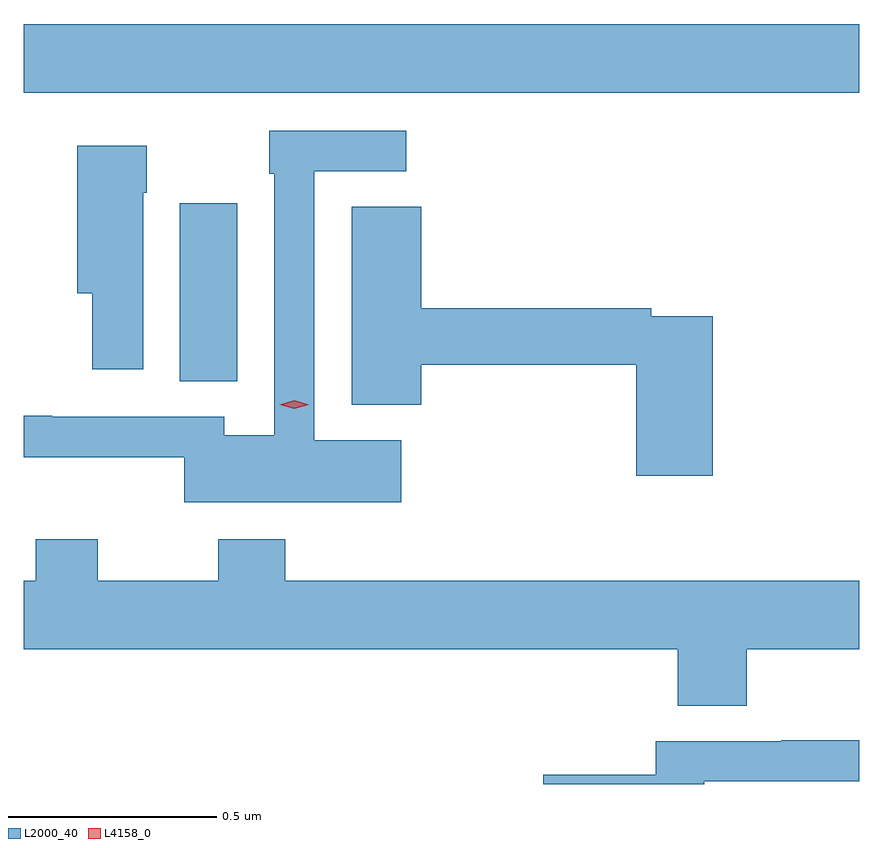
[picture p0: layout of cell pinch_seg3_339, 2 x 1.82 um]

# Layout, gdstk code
import gdstk
lib = gdstk.Library(unit=1e-6, precision=1e-09)
def R(c, l, rs):  # rectangles x0, y0, x1, y1
    for r in rs: c.add(gdstk.rectangle(r[:2], r[2:], *l))
def P(c, l, *ps):  # polygons
    for p in ps: c.add(gdstk.Polygon(p, *l))
L2000_40 = (2000, 40)
L4158_0 = (4158, 0)

pinch_seg3_339 = lib.new_cell('pinch_seg3_339')
R(pinch_seg3_339, L2000_40, [(986.306,721.537,986.443,721.963), (985.932,722.228,987.932,722.392)])
P(pinch_seg3_339, L2000_40, [(986.836,721.396),(986.628,721.396),(986.628,722.04),(986.848,722.04),(986.848,722.136),(986.52,722.136),(986.52,722.033),(986.532,722.033),(986.532,721.408),(986.412,721.408),(986.412,721.452),(986,721.452),(986,721.454),(985.932,721.454),(985.932,721.355),(986.316,721.355),(986.316,721.247),(986.836,721.247)],
  [(986.218,721.988),(986.226,721.988),(986.226,722.101),(986.06,722.101),(986.06,721.748),(986.096,721.748),(986.096,721.566),(986.218,721.566)],
  [(987.581,721.692),(987.434,721.692),(987.434,721.712),(986.884,721.712),(986.884,721.955),(986.717,721.955),(986.717,721.481),(986.884,721.481),(986.884,721.576),(987.398,721.576),(987.398,721.311),(987.581,721.311)],
  [(987.662,720.896),(987.932,720.896),(987.932,721.06),(986.558,721.06),(986.558,721.159),(986.398,721.159),(986.398,721.06),(986.109,721.06),(986.109,721.159),(985.961,721.159),(985.961,721.06),(985.932,721.06),(985.932,720.896),(987.497,720.896),(987.497,720.76),(987.662,720.76)],
  [(987.561,720.579),(987.932,720.579),(987.932,720.678),(987.745,720.678),(987.745,720.675),(987.445,720.675),(987.445,720.595),(987.176,720.595),(987.176,720.573),(987.561,720.573)])
P(pinch_seg3_339, L4158_0, [(986.579,721.471),(986.545,721.481),(986.544,721.481),(986.545,721.481),(986.579,721.491),(986.614,721.481),(986.614,721.481),(986.614,721.481)])

lib.write_gds('pinch_seg3_339.gds')
